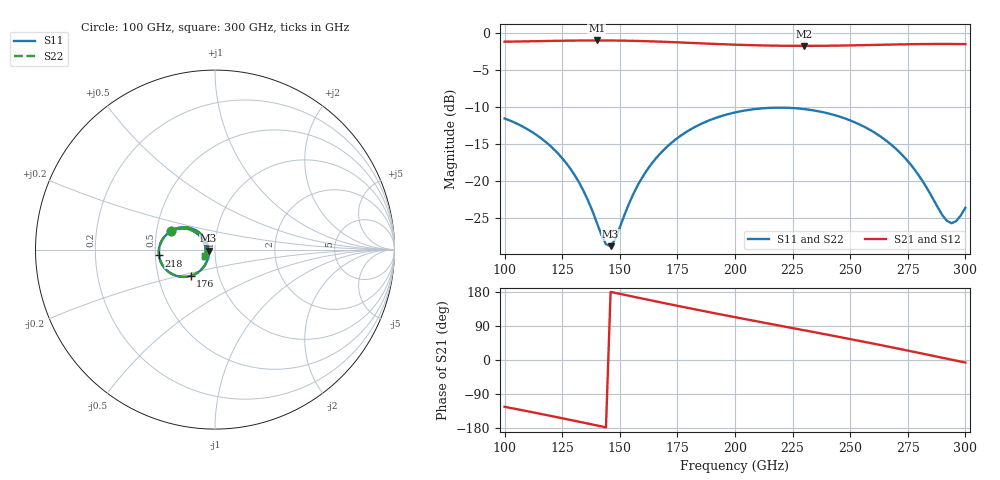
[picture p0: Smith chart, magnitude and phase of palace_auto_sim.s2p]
#  GHZ S DB R 50
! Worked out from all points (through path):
!   101 points, 100 GHz to 300 GHz, reference 50 ohm
!   highest |S21| = -0.97 dB at 140 GHz (marker M1); lowest = -1.7 dB at 230 GHz (marker M2)
!   group delay of S21, straight-line fit = 3.35 ps
!   lowest |S11| = -28.8 dB at 146 GHz (marker M3), VSWR 1.08, Z = 46.6 - j0.606 ohm
!   |S11| at or under -10 dB: start of sweep to end of sweep
!   |S22| runs from -28.7 to -10.1 dB; largest |S21 - S12| = 1e-13
!   S11 on the Smith chart (normalised r, x): 100 GHz: 0.60, +0.14; 176 GHz: 0.73, -0.22; 218 GHz: 0.52, -0.04; 300 GHz: 0.90, -0.07
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100  -11.54 156.4  -1.14 -123.5  -1.14 -123.5  -11.54 156.5
120  -15.30 137.3  -1.04 -147.5  -1.04 -147.5  -15.30 137.6
128  -18.11 132.5  -1.00 -157.5  -1.00 -157.5  -18.10 132.7
134  -21.19 132.7  -0.98 -165.0  -0.98 -165.0  -21.17 133.1
140  -25.63 144.4  -0.97 -172.6  -0.97 -172.6  -25.57 144.8
144  -28.58 170.7  -0.98 -177.7  -0.98 -177.7  -28.47 171.0
146  -28.84 -169.6  -0.98 179.7  -0.98 179.7  -28.73 -169.6
148  -27.89 -151.7  -0.99 177.1  -0.99 177.1  -27.80 -151.9
158  -20.47 -123.3  -1.05 164.4  -1.05 164.4  -20.45 -123.5
168  -16.14 -126.4  -1.14 151.7  -1.14 151.7  -16.13 -126.5
176  -13.97 -132.9  -1.24 141.8  -1.24 141.8  -13.97 -132.9
188  -11.90 -144.3  -1.40 127.2  -1.40 127.2  -11.90 -144.3
200  -10.73 -156.2  -1.55 113.1  -1.55 113.1  -10.72 -156.2
218  -10.08 -174.0  -1.68 92.3  -1.68 92.3  -10.07 -174.0
230  -10.27 174.2  -1.71 78.5  -1.71 78.5  -10.26 174.3
234  -10.44 170.3  -1.70 73.9  -1.70 73.9  -10.44 170.4
250  -11.80 155.2  -1.64 55.2  -1.64 55.2  -11.80 155.3
268  -15.14 140.9  -1.53 33.5  -1.53 33.5  -15.14 141.0
278  -18.48 138.0  -1.48 21.1  -1.48 21.1  -18.48 138.1
292  -25.42 170.7  -1.45 3.4  -1.45 3.4  -25.44 170.8
296  -25.45 -164.3  -1.46 -1.7  -1.46 -1.7  -25.47 -164.1
300  -23.64 -145.3  -1.47 -6.8  -1.47 -6.8  -23.66 -145.1
